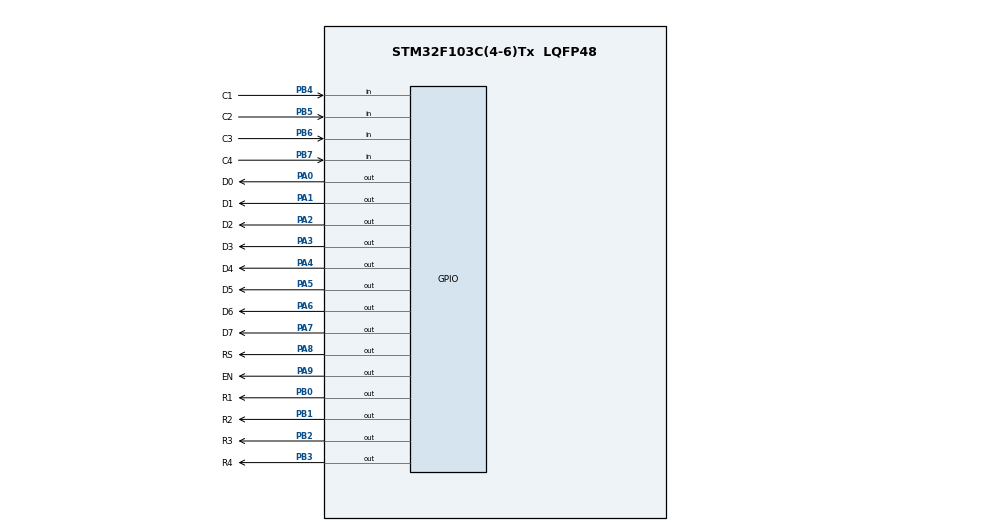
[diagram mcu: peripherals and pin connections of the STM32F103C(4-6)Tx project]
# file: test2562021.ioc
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Mcu.Family=STM32F1
Mcu.Name=STM32F103C(4-6)Tx
Mcu.Package=LQFP48
NVIC.PriorityGroup=NVIC_PRIORITYGROUP_4
PA0-WKUP.GPIO_Label=D0
PA0-WKUP.Signal=GPIO_Output
PA1.GPIO_Label=D1
PA1.Signal=GPIO_Output
PA2.GPIO_Label=D2
PA2.Signal=GPIO_Output
PA3.GPIO_Label=D3
PA3.Signal=GPIO_Output
PA4.GPIO_Label=D4
PA4.Signal=GPIO_Output
PA5.GPIO_Label=D5
PA5.Signal=GPIO_Output
PA6.GPIO_Label=D6
PA6.Signal=GPIO_Output
PA7.GPIO_Label=D7
PA7.Signal=GPIO_Output
PA8.GPIO_Label=RS
PA8.Signal=GPIO_Output
PA9.GPIO_Label=EN
PA9.Signal=GPIO_Output
PB0.GPIO_Label=R1
PB0.Signal=GPIO_Output
PB1.GPIO_Label=R2
PB1.Signal=GPIO_Output
PB2.GPIO_Label=R3
PB2.Signal=GPIO_Output
PB3.GPIO_Label=R4
PB3.Signal=GPIO_Output
PB4.GPIO_Label=C1
PB4.Signal=GPIO_Input
PB5.GPIO_Label=C2
PB5.Signal=GPIO_Input
PB6.GPIO_Label=C3
PB6.Signal=GPIO_Input
PB7.GPIO_Label=C4
PB7.Signal=GPIO_Input
ProjectManager.HeapSize=0x200
ProjectManager.StackSize=0x400
ProjectManager.TargetToolchain=MDK-ARM V5.27
RCC.APB1Freq_Value=8000000
RCC.APB2Freq_Value=8000000
VP_SYS_VS_ND.Mode=No_Debug
board=custom

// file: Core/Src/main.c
/* USER CODE BEGIN Header */
/**
  ******************************************************************************
  * @file           : main.c
  * @brief          : Main program body
  ******************************************************************************
  * @attention
  *
  * <h2><center>&copy; Copyright (c) 2021 STMicroelectronics.
  * All rights reserved.</center></h2>
  *
  * This software component is licensed by ST under BSD 3-Clause license,
  * the "License"; You may not use this file except in compliance with the
  * License. You may obtain a copy of the License at:
  *                        opensource.org/licenses/BSD-3-Clause
  *
  ******************************************************************************
  */
/* USER CODE END Header */
#include "main.h"

/* USER CODE BEGIN PV */
void LCD_init(void); // thiet lap lcd

void LCD_command(uint8_t value); // dua lenh vao lcd

void LCD_data(uint8_t value); // dua du lieu vao lcd

void LCD_string(uint8_t *str); // hien thi chuoi tren lcd
 void Keys_Detect(void);
/* USER CODE END PV */

void SystemClock_Config(void);
static void MX_GPIO_Init(void);

/* USER CODE BEGIN 0 */
	uint16_t data_pins[8]; // bien toan cuc
/* USER CODE END 0 */

int main(void)
{

  /* MCU Configuration--------------------------------------------------------*/

  /* Reset of all peripherals, Initializes the Flash interface and the Systick. */
  HAL_Init();

  /* Configure the system clock */
  SystemClock_Config();

  /* Initialize all configured peripherals */
  MX_GPIO_Init();
  /* USER CODE BEGIN 2 */
	data_pins[0] = D0_Pin;
  data_pins[1] = D1_Pin;
  data_pins[2] = D2_Pin;
  data_pins[3] = D3_Pin;
  data_pins[4] = D4_Pin;
  data_pins[5] = D5_Pin;
  data_pins[6] = D6_Pin;
  data_pins[7] = D7_Pin;
  /* USER CODE END 2 */

  /* Infinite loop */
  /* USER CODE BEGIN WHILE */
	LCD_init();

	HAL_Delay(1000);

	LCD_string((uint8_t *)"you press key");

  while (1)
  {
    /* USER CODE END WHILE */
     Keys_Detect();
		 HAL_Delay(100);
  }
}
void Keys_Detect(void)
{
	// set hang 1 len muc cao
	HAL_GPIO_WritePin(GPIOB, R1_Pin, GPIO_PIN_SET);
	HAL_GPIO_WritePin(GPIOB, R2_Pin, GPIO_PIN_RESET);
	HAL_GPIO_WritePin(GPIOB, R3_Pin, GPIO_PIN_RESET);
	HAL_GPIO_WritePin(GPIOB, R4_Pin, GPIO_PIN_RESET);

	if(HAL_GPIO_ReadPin(GPIOB, C1_Pin) == GPIO_PIN_SET)
	{
		/* 7 */

		  LCD_command(0x38);         // set lcd o che do 8 bit
	    LCD_command(0XC0);              // dua con tro tro ve vi tri dau tien cua hang 2
	    LCD_string((uint8_t *)"Key 7");  //hien key an
		while (HAL_GPIO_ReadPin (GPIOB, C1_Pin));
	}

	if(HAL_GPIO_ReadPin(GPIOB, C2_Pin) == GPIO_PIN_SET)
	{
		/* 8 */

		  LCD_command(0x38);
	    LCD_command(0XC0);
	    LCD_string((uint8_t *)"Key 8");
		while (HAL_GPIO_ReadPin (GPIOB, C2_Pin));
	}

	if(HAL_GPIO_ReadPin(GPIOB, C3_Pin) == GPIO_PIN_SET)
	{
		/* 9 */
		  LCD_command(0x38);
	    LCD_command(0XC0);
	    LCD_string((uint8_t *)"Key 9");
		while (HAL_GPIO_ReadPin (GPIOB, C3_Pin));
	}

	if(HAL_GPIO_ReadPin(GPIOB, C4_Pin) == GPIO_PIN_SET)
	{
		/* A */
		  LCD_command(0x38);
	    LCD_command(0XC0);
	    LCD_string((uint8_t *)"Key /");
		while (HAL_GPIO_ReadPin (GPIOB, C4_Pin));
	}

	HAL_GPIO_WritePin(GPIOB, R1_Pin, GPIO_PIN_RESET);
	HAL_GPIO_WritePin(GPIOB, R2_Pin, GPIO_PIN_SET);
	HAL_GPIO_WritePin(GPIOB, R3_Pin, GPIO_PIN_RESET);
	HAL_GPIO_WritePin(GPIOB, R4_Pin, GPIO_PIN_RESET);

	if(HAL_GPIO_ReadPin(GPIOB, C1_Pin) == GPIO_PIN_SET)
	{
		/* 4 */
		  LCD_command(0x38);
	    LCD_command(0XC0);
	    LCD_string((uint8_t *)"Key 4");
		while (HAL_GPIO_ReadPin (GPIOB, C1_Pin));
	}

	if(HAL_GPIO_ReadPin(GPIOB, C2_Pin) == GPIO_PIN_SET)
	{
		/* 5 */

		  LCD_command(0x38);
	    LCD_command(0XC0);
	    LCD_string((uint8_t *)"Key 5");
		while (HAL_GPIO_ReadPin (GPIOB, C2_Pin));
	}

	if(HAL_GPIO_ReadPin(GPIOB, C3_Pin) == GPIO_PIN_SET)
	{
		/* 6 */

		  LCD_command(0x38);
	    LCD_command(0XC0);
	    LCD_string((uint8_t *)"Key 6");
		while (HAL_GPIO_ReadPin (GPIOB, C3_Pin));
	}

	if(HAL_GPIO_ReadPin(GPIOB, C4_Pin) == GPIO_PIN_SET)
	{
		/* B */

		  LCD_command(0x38);
	    LCD_command(0XC0);
	    LCD_string((uint8_t *)"Key x");
		while (HAL_GPIO_ReadPin (GPIOB, C4_Pin));
	}

	HAL_GPIO_WritePin(GPIOB, R1_Pin, GPIO_PIN_RESET);
	HAL_GPIO_WritePin(GPIOB, R2_Pin, GPIO_PIN_RESET);
	HAL_GPIO_WritePin(GPIOB, R3_Pin, GPIO_PIN_SET);
	HAL_GPIO_WritePin(GPIOB, R4_Pin, GPIO_PIN_RESET);

	if(HAL_GPIO_ReadPin(GPIOB, C1_Pin) == GPIO_PIN_SET)
	{
		/* 1 */

		  LCD_command(0x38);
	    LCD_command(0XC0);
	    LCD_string((uint8_t *)"Key 1");
		while (HAL_GPIO_ReadPin (GPIOB, C1_Pin));
	}

	if(HAL_GPIO_ReadPin(GPIOB, C2_Pin) == GPIO_PIN_SET)
	{
		/* 2 */

		  LCD_command(0x38);
	    LCD_command(0XC0);
	    LCD_string((uint8_t *)"Key 2");
		while (HAL_GPIO_ReadPin (GPIOB, C2_Pin));
	}

	if(HAL_GPIO_ReadPin(GPIOB, C3_Pin) == GPIO_PIN_SET)
	{
		/* 3 */

		  LCD_command(0x38);
	    LCD_command(0XC0);
	    LCD_string((uint8_t *)"Key 3");
		while (HAL_GPIO_ReadPin (GPIOB, C3_Pin));
	}

	if(HAL_GPIO_ReadPin(GPIOB, C4_Pin) == GPIO_PIN_SET)
	{
		/* - */

		  LCD_command(0x38);
	    LCD_command(0XC0);
	    LCD_string((uint8_t *)"Key -");
		while (HAL_GPIO_ReadPin (GPIOB, C4_Pin));
	}

	HAL_GPIO_WritePin(GPIOB, R1_Pin, GPIO_PIN_RESET);
	HAL_GPIO_WritePin(GPIOB, R2_Pin, GPIO_PIN_RESET);
	HAL_GPIO_WritePin(GPIOB, R3_Pin, GPIO_PIN_RESET);
	HAL_GPIO_WritePin(GPIOB, R4_Pin, GPIO_PIN_SET);

	if(HAL_GPIO_ReadPin(GPIOB, C1_Pin) == GPIO_PIN_SET)
	{
		/* ON */

		  LCD_command(0x38);
	    LCD_command(0XC0);
	    LCD_string((uint8_t *)"Key C");
		while (HAL_GPIO_ReadPin (GPIOB, C1_Pin));
	}

	if(HAL_GPIO_ReadPin(GPIOB, C2_Pin) == GPIO_PIN_SET)
	{
		/* 0 */

		  LCD_command(0x38);
	    LCD_command(0XC0);
	    LCD_string((uint8_t *)"Key 0");
		while (HAL_GPIO_ReadPin (GPIOB, C2_Pin));
	}

	if(HAL_GPIO_ReadPin(GPIOB, C3_Pin) == GPIO_PIN_SET)
	{
		/* = */

		  LCD_command(0x38);
	    LCD_command(0XC0);
	    LCD_string((uint8_t *)"Key =");
		while (HAL_GPIO_ReadPin (GPIOB, C3_Pin));
	}

	if(HAL_GPIO_ReadPin(GPIOB, C4_Pin) == GPIO_PIN_SET)
	{
		/* + */

		  LCD_command(0x38);
	    LCD_command(0XC0);
	    LCD_string((uint8_t *)"Key +");
		while (HAL_GPIO_ReadPin (GPIOB, C4_Pin));
	}
}
/*****************************************************************************************************************************/

void LCD_init(void)
{
	 HAL_Delay(100);
   LCD_command(0x38);  // hаm set lcd lam viec o che do 8 bit

	 LCD_command(0x0C);  // set con tro xuong dтng 2

	 LCD_command(0x06);  //tang vi trн con tro.

	 LCD_command(0x01);  // xoa man hinh

	 LCD_command(0x80);  // tat man hinh hien thi va con tro
}

/*****************************************************************************************************************************/

void LCD_command(uint8_t value)
{
   HAL_GPIO_WritePin(RS_GPIO_Port, RS_Pin, GPIO_PIN_RESET);

	  for (int i = 0; i < 8; i++)
	{
    HAL_GPIO_WritePin(GPIOA, data_pins[i], ((value >> i) & 0x01)?GPIO_PIN_SET:GPIO_PIN_RESET);
  }

	HAL_GPIO_WritePin(GPIOA, EN_Pin, GPIO_PIN_RESET);
  HAL_Delay(1);
  HAL_GPIO_WritePin(GPIOA, EN_Pin, GPIO_PIN_SET);
  HAL_Delay(1);
  HAL_GPIO_WritePin(GPIOA, EN_Pin, GPIO_PIN_RESET);
  HAL_Delay(1);

}
/*****************************************************************************************************************************/

void LCD_data(uint8_t value)
{
	 HAL_GPIO_WritePin(RS_GPIO_Port, RS_Pin, GPIO_PIN_SET);

	  for (int i = 0; i < 8; i++)
	{
    HAL_GPIO_WritePin(GPIOA, data_pins[i], ((value >> i) & 0x01)?GPIO_PIN_SET:GPIO_PIN_RESET);
  }

  HAL_GPIO_WritePin(GPIOA, EN_Pin, GPIO_PIN_RESET);
  HAL_Delay(1);
  HAL_GPIO_WritePin(GPIOA, EN_Pin, GPIO_PIN_SET);
  HAL_Delay(1);
  HAL_GPIO_WritePin(GPIOA, EN_Pin, GPIO_PIN_RESET);
  HAL_Delay(1);
}
/*****************************************************************************************************************************/

void LCD_string(uint8_t *str)
{
	int i = 0;

	while(str[i] != '\0')
	{
		 LCD_data(str[i]);
		 i++;
	}

}

void SystemClock_Config(void)
{
  RCC_OscInitTypeDef RCC_OscInitStruct = {0};
  RCC_ClkInitTypeDef RCC_ClkInitStruct = {0};

  /** Initializes the RCC Oscillators according to the specified parameters
  * in the RCC_OscInitTypeDef structure.
  */
  RCC_OscInitStruct.OscillatorType = RCC_OSCILLATORTYPE_HSI;
  RCC_OscInitStruct.HSIState = RCC_HSI_ON;
  RCC_OscInitStruct.HSICalibrationValue = RCC_HSICALIBRATION_DEFAULT;
  RCC_OscInitStruct.PLL.PLLState = RCC_PLL_NONE;
  if (HAL_RCC_OscConfig(&RCC_OscInitStruct) != HAL_OK)
  {
    Error_Handler();
  }
  /** Initializes the CPU, AHB and APB buses clocks
  */
  RCC_ClkInitStruct.ClockType = RCC_CLOCKTYPE_HCLK|RCC_CLOCKTYPE_SYSCLK
                              |RCC_CLOCKTYPE_PCLK1|RCC_CLOCKTYPE_PCLK2;
  RCC_ClkInitStruct.SYSCLKSource = RCC_SYSCLKSOURCE_HSI;
  RCC_ClkInitStruct.AHBCLKDivider = RCC_SYSCLK_DIV1;
  RCC_ClkInitStruct.APB1CLKDivider = RCC_HCLK_DIV1;
  RCC_ClkInitStruct.APB2CLKDivider = RCC_HCLK_DIV1;

  if (HAL_RCC_ClockConfig(&RCC_ClkInitStruct, FLASH_LATENCY_0) != HAL_OK)
  {
    Error_Handler();
  }
}

static void MX_GPIO_Init(void)
{
  GPIO_InitTypeDef GPIO_InitStruct = {0};

  /* GPIO Ports Clock Enable */
  __HAL_RCC_GPIOA_CLK_ENABLE();
  __HAL_RCC_GPIOB_CLK_ENABLE();

  /*Configure GPIO pin Output Level */
  HAL_GPIO_WritePin(GPIOA, D0_Pin|D1_Pin|D2_Pin|D3_Pin
                          |D4_Pin|D5_Pin|D6_Pin|D7_Pin
                          |RS_Pin|EN_Pin, GPIO_PIN_RESET);

  /*Configure GPIO pin Output Level */
  HAL_GPIO_WritePin(GPIOB, R1_Pin|R2_Pin|R3_Pin|R4_Pin, GPIO_PIN_RESET);

  /*Configure GPIO pins : D0_Pin D1_Pin D2_Pin D3_Pin
                           D4_Pin D5_Pin D6_Pin D7_Pin
                           RS_Pin EN_Pin */
  GPIO_InitStruct.Pin = D0_Pin|D1_Pin|D2_Pin|D3_Pin
                          |D4_Pin|D5_Pin|D6_Pin|D7_Pin
                          |RS_Pin|EN_Pin;
  GPIO_InitStruct.Mode = GPIO_MODE_OUTPUT_PP;
  GPIO_InitStruct.Pull = GPIO_NOPULL;
  GPIO_InitStruct.Speed = GPIO_SPEED_FREQ_LOW;
  HAL_GPIO_Init(GPIOA, &GPIO_InitStruct);

  /*Configure GPIO pins : R1_Pin R2_Pin R3_Pin R4_Pin */
  GPIO_InitStruct.Pin = R1_Pin|R2_Pin|R3_Pin|R4_Pin;
  GPIO_InitStruct.Mode = GPIO_MODE_OUTPUT_PP;
  GPIO_InitStruct.Pull = GPIO_NOPULL;
  GPIO_InitStruct.Speed = GPIO_SPEED_FREQ_LOW;
  HAL_GPIO_Init(GPIOB, &GPIO_InitStruct);

  /*Configure GPIO pins : C1_Pin C2_Pin C3_Pin C4_Pin */
  GPIO_InitStruct.Pin = C1_Pin|C2_Pin|C3_Pin|C4_Pin;
  GPIO_InitStruct.Mode = GPIO_MODE_INPUT;
  GPIO_InitStruct.Pull = GPIO_NOPULL;
  HAL_GPIO_Init(GPIOB, &GPIO_InitStruct);

}

void Error_Handler(void)
{
  __disable_irq();
  while (1)
  {
  }
}

/************************ (C) COPYRIGHT STMicroelectronics *****END OF FILE****/
